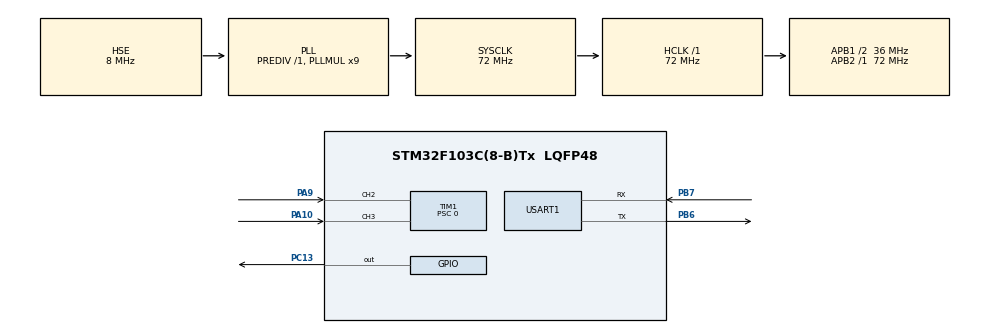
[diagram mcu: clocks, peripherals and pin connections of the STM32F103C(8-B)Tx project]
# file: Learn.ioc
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FREERTOS.Tasks01=MainTask,0,128,StartDefaultTask,Default,NULL,Dynamic,NULL,NULL;UartTask,2,128,StartTask02,Default,NULL,Dynamic,NULL,NULL
FREERTOS.Timers01=myTimer01,Callback01,osTimerOnce,Default,NULL,Dynamic,NULL
FREERTOS.configTIMER_TASK_PRIORITY=6
FREERTOS.configTOTAL_HEAP_SIZE=3892
FREERTOS.configUSE_TIMERS=1
Mcu.Family=STM32F1
Mcu.Name=STM32F103C(8-B)Tx
Mcu.Package=LQFP48
NVIC.PriorityGroup=NVIC_PRIORITYGROUP_4
NVIC.TIM1_CC_IRQn=true\:5\:0\:false\:false\:true\:true\:true
NVIC.TIM4_IRQn=true\:0\:0\:false\:false\:true\:false\:false
NVIC.TimeBase=TIM4_IRQn
NVIC.TimeBaseIP=TIM4
NVIC.USART1_IRQn=true\:5\:0\:false\:false\:true\:true\:true
PA10.Signal=S_TIM1_CH3
PA13.Mode=Serial_Wire
PA13.Signal=SYS_JTMS-SWDIO
PA14.Mode=Serial_Wire
PA14.Signal=SYS_JTCK-SWCLK
PA9.Signal=S_TIM1_CH2
PB6.Mode=Asynchronous
PB6.Signal=USART1_TX
PB7.Mode=Asynchronous
PB7.Signal=USART1_RX
PC13-TAMPER-RTC.Signal=GPIO_Output
PD0-OSC_IN.Mode=HSE-External-Oscillator
PD0-OSC_IN.Signal=RCC_OSC_IN
PD1-OSC_OUT.Mode=HSE-External-Oscillator
PD1-OSC_OUT.Signal=RCC_OSC_OUT
ProjectManager.HeapSize=0x200
ProjectManager.StackSize=0x400
ProjectManager.TargetToolchain=MDK-ARM V5
RCC.AHBFreq_Value=72000000
RCC.APB1CLKDivider=RCC_HCLK_DIV2
RCC.APB1Freq_Value=36000000
RCC.APB1TimFreq_Value=72000000
RCC.APB2Freq_Value=72000000
RCC.APB2TimFreq_Value=72000000
RCC.HCLKFreq_Value=72000000
RCC.PLLMUL=RCC_PLL_MUL9
RCC.PLLSourceVirtual=RCC_PLLSOURCE_HSE
RCC.SYSCLKFreq_VALUE=72000000
RCC.SYSCLKSource=RCC_SYSCLKSOURCE_PLLCLK
RCC.USBFreq_Value=72000000
SH.S_TIM1_CH2.0=TIM1_CH2,PWM_Input_2
SH.S_TIM1_CH3.0=TIM1_CH3,Input_Capture3_from_TI3
SH.S_TIM1_CH3.1=TIM1_CH3,Input_Capture4_from_TI3
TIM1.AutoReloadPreload=TIM_AUTORELOAD_PRELOAD_ENABLE
TIM1.Channel-Input_Capture3_from_TI3=TIM_CHANNEL_3
TIM1.Channel-Input_Capture4_from_TI3=TIM_CHANNEL_4
TIM1.ICFilter_1=8
TIM1.ICFilter_2=8
TIM1.ICPolarity_1=TIM_INPUTCHANNELPOLARITY_RISING
TIM1.ICPolarity_CH4=TIM_INPUTCHANNELPOLARITY_FALLING
TIM1.Period=65535
TIM1.Prescaler=0
TIM1.TIM_MasterOutputTrigger=TIM_TRGO_ENABLE
TIM1.TIM_MasterSlaveMode=TIM_MASTERSLAVEMODE_DISABLE
USART1.VirtualMode=VM_ASYNC
VP_FREERTOS_VS_ENABLE.Mode=Enabled
VP_SYS_VS_tim4.Mode=TIM4
VP_TIM1_VS_ClockSourceINT.Mode=Internal
board=custom

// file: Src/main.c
/**
  ******************************************************************************
  * @file           : main.c
  * @brief          : Main program body
  ******************************************************************************
  * This notice applies to any and all portions of this file
  * that are not between comment pairs USER CODE BEGIN and
  * USER CODE END. Other portions of this file, whether
  * inserted by the user or by software development tools
  * are owned by their respective copyright owners.
  *
  * Copyright (c) 2019 STMicroelectronics International N.V.
  * All rights reserved.
  *
  * Redistribution and use in source and binary forms, with or without
  * modification, are permitted, provided that the following conditions are met:
  *
  * 1. Redistribution of source code must retain the above copyright notice,
  *    this list of conditions and the following disclaimer.
  * 2. Redistributions in binary form must reproduce the above copyright notice,
  *    this list of conditions and the following disclaimer in the documentation
  *    and/or other materials provided with the distribution.
  * 3. Neither the name of STMicroelectronics nor the names of other
  *    contributors to this software may be used to endorse or promote products
  *    derived from this software without specific written permission.
  * 4. This software, including modifications and/or derivative works of this
  *    software, must execute solely and exclusively on microcontroller or
  *    microprocessor devices manufactured by or for STMicroelectronics.
  * 5. Redistribution and use of this software other than as permitted under
  *    this license is void and will automatically terminate your rights under
  *    this license.
  *
  * THIS SOFTWARE IS PROVIDED BY STMICROELECTRONICS AND CONTRIBUTORS "AS IS"
  * AND ANY EXPRESS, IMPLIED OR STATUTORY WARRANTIES, INCLUDING, BUT NOT
  * LIMITED TO, THE IMPLIED WARRANTIES OF MERCHANTABILITY, FITNESS FOR A
  * PARTICULAR PURPOSE AND NON-INFRINGEMENT OF THIRD PARTY INTELLECTUAL PROPERTY
  * RIGHTS ARE DISCLAIMED TO THE FULLEST EXTENT PERMITTED BY LAW. IN NO EVENT
  * SHALL STMICROELECTRONICS OR CONTRIBUTORS BE LIABLE FOR ANY DIRECT, INDIRECT,
  * INCIDENTAL, SPECIAL, EXEMPLARY, OR CONSEQUENTIAL DAMAGES (INCLUDING, BUT NOT
  * LIMITED TO, PROCUREMENT OF SUBSTITUTE GOODS OR SERVICES; LOSS OF USE, DATA,
  * OR PROFITS; OR BUSINESS INTERRUPTION) HOWEVER CAUSED AND ON ANY THEORY OF
  * LIABILITY, WHETHER IN CONTRACT, STRICT LIABILITY, OR TORT (INCLUDING
  * NEGLIGENCE OR OTHERWISE) ARISING IN ANY WAY OUT OF THE USE OF THIS SOFTWARE,
  * EVEN IF ADVISED OF THE POSSIBILITY OF SUCH DAMAGE.
  *
  ******************************************************************************
  */
#include "main.h"
#include "stm32f1xx_hal.h"
#include "cmsis_os.h"

/* USER CODE BEGIN Includes */
#include "RF.h"
#include "string.h"
#include "stdlib.h"
#include "stdio.h"

/* USER CODE END Includes */

TIM_HandleTypeDef htim1;

UART_HandleTypeDef huart1;

osThreadId MainTaskHandle;
osThreadId UartTaskHandle;
osTimerId myTimer01Handle;

/* USER CODE BEGIN PV */
/* Private variables ---------------------------------------------------------*/

/* USER CODE END PV */

void SystemClock_Config(void);
static void MX_GPIO_Init(void);
static void MX_TIM1_Init(void);
static void MX_USART1_UART_Init(void);
void StartDefaultTask(void const * argument);
void StartTask02(void const * argument);
void Callback01(void const * argument);

/* USER CODE BEGIN PFP */
/* Private function prototypes -----------------------------------------------*/
char str[100]; //buffer for transmit UART
uint8_t data_uart[1];  //reg for recive from uart
BUF uart_BUF ;	//struct for reciving uart
BUF RF_pck ;	//struct for reciving uart
int TimeOut_Recive = Timer_RTOS ;
unsigned char start_Recive=0;
int32_t uart_signal;

/* USER CODE END PFP */

int main(void)
{

  /* MCU Configuration----------------------------------------------------------*/

  /* Reset of all peripherals, Initializes the Flash interface and the Systick. */
  HAL_Init();

  /* Configure the system clock */
  SystemClock_Config();

  /* Initialize all configured peripherals */
  MX_GPIO_Init();
  MX_TIM1_Init();
  MX_USART1_UART_Init();
  /* USER CODE BEGIN 2 */
	HAL_UART_Receive_IT(&huart1,data_uart,1);//preload for intrupt of usart1

  /* USER CODE END 2 */

  /* Create the timer(s) */
  /* definition and creation of myTimer01 */
  osTimerDef(myTimer01, Callback01);
  myTimer01Handle = osTimerCreate(osTimer(myTimer01), osTimerOnce, NULL);

  /* Create the thread(s) */
  /* definition and creation of MainTask */
  osThreadDef(MainTask, StartDefaultTask, osPriorityNormal, 0, 128);
  MainTaskHandle = osThreadCreate(osThread(MainTask), NULL);

  /* definition and creation of UartTask */
  osThreadDef(UartTask, StartTask02, osPriorityHigh, 0, 128);
  UartTaskHandle = osThreadCreate(osThread(UartTask), NULL);

  /* Start scheduler */
  osKernelStart();

  /* We should never get here as control is now taken by the scheduler */

  /* Infinite loop */
  while (1)
  {

  }

}

void SystemClock_Config(void)
{

  RCC_OscInitTypeDef RCC_OscInitStruct;
  RCC_ClkInitTypeDef RCC_ClkInitStruct;

    /**Initializes the CPU, AHB and APB busses clocks
    */
  RCC_OscInitStruct.OscillatorType = RCC_OSCILLATORTYPE_HSE;
  RCC_OscInitStruct.HSEState = RCC_HSE_ON;
  RCC_OscInitStruct.HSEPredivValue = RCC_HSE_PREDIV_DIV1;
  RCC_OscInitStruct.HSIState = RCC_HSI_ON;
  RCC_OscInitStruct.PLL.PLLState = RCC_PLL_ON;
  RCC_OscInitStruct.PLL.PLLSource = RCC_PLLSOURCE_HSE;
  RCC_OscInitStruct.PLL.PLLMUL = RCC_PLL_MUL9;
  if (HAL_RCC_OscConfig(&RCC_OscInitStruct) != HAL_OK)
  {
    _Error_Handler(__FILE__, __LINE__);
  }

    /**Initializes the CPU, AHB and APB busses clocks
    */
  RCC_ClkInitStruct.ClockType = RCC_CLOCKTYPE_HCLK|RCC_CLOCKTYPE_SYSCLK
                              |RCC_CLOCKTYPE_PCLK1|RCC_CLOCKTYPE_PCLK2;
  RCC_ClkInitStruct.SYSCLKSource = RCC_SYSCLKSOURCE_PLLCLK;
  RCC_ClkInitStruct.AHBCLKDivider = RCC_SYSCLK_DIV1;
  RCC_ClkInitStruct.APB1CLKDivider = RCC_HCLK_DIV2;
  RCC_ClkInitStruct.APB2CLKDivider = RCC_HCLK_DIV1;

  if (HAL_RCC_ClockConfig(&RCC_ClkInitStruct, FLASH_LATENCY_2) != HAL_OK)
  {
    _Error_Handler(__FILE__, __LINE__);
  }

    /**Configure the Systick interrupt time
    */
  HAL_SYSTICK_Config(HAL_RCC_GetHCLKFreq()/1000);

    /**Configure the Systick
    */
  HAL_SYSTICK_CLKSourceConfig(SYSTICK_CLKSOURCE_HCLK);

  /* SysTick_IRQn interrupt configuration */
  HAL_NVIC_SetPriority(SysTick_IRQn, 15, 0);
}

/* TIM1 init function */
static void MX_TIM1_Init(void)
{

  TIM_ClockConfigTypeDef sClockSourceConfig;
  TIM_MasterConfigTypeDef sMasterConfig;
  TIM_IC_InitTypeDef sConfigIC;
  TIM_SlaveConfigTypeDef sSlaveConfig;

  htim1.Instance = TIM1;
  htim1.Init.Prescaler = 0;
  htim1.Init.CounterMode = TIM_COUNTERMODE_UP;
  htim1.Init.Period = 65535;
  htim1.Init.ClockDivision = TIM_CLOCKDIVISION_DIV1;
  htim1.Init.RepetitionCounter = 0;
  htim1.Init.AutoReloadPreload = TIM_AUTORELOAD_PRELOAD_ENABLE;
  if (HAL_TIM_Base_Init(&htim1) != HAL_OK)
  {
    _Error_Handler(__FILE__, __LINE__);
  }

  sClockSourceConfig.ClockSource = TIM_CLOCKSOURCE_INTERNAL;
  if (HAL_TIM_ConfigClockSource(&htim1, &sClockSourceConfig) != HAL_OK)
  {
    _Error_Handler(__FILE__, __LINE__);
  }

  if (HAL_TIM_IC_Init(&htim1) != HAL_OK)
  {
    _Error_Handler(__FILE__, __LINE__);
  }

  sMasterConfig.MasterOutputTrigger = TIM_TRGO_ENABLE;
  sMasterConfig.MasterSlaveMode = TIM_MASTERSLAVEMODE_DISABLE;
  if (HAL_TIMEx_MasterConfigSynchronization(&htim1, &sMasterConfig) != HAL_OK)
  {
    _Error_Handler(__FILE__, __LINE__);
  }

  sConfigIC.ICPolarity = TIM_INPUTCHANNELPOLARITY_RISING;
  sConfigIC.ICSelection = TIM_ICSELECTION_DIRECTTI;
  sConfigIC.ICPrescaler = TIM_ICPSC_DIV1;
  sConfigIC.ICFilter = 0;
  if (HAL_TIM_IC_ConfigChannel(&htim1, &sConfigIC, TIM_CHANNEL_3) != HAL_OK)
  {
    _Error_Handler(__FILE__, __LINE__);
  }

  sConfigIC.ICPolarity = TIM_INPUTCHANNELPOLARITY_FALLING;
  sConfigIC.ICSelection = TIM_ICSELECTION_INDIRECTTI;
  if (HAL_TIM_IC_ConfigChannel(&htim1, &sConfigIC, TIM_CHANNEL_4) != HAL_OK)
  {
    _Error_Handler(__FILE__, __LINE__);
  }

  sSlaveConfig.SlaveMode = TIM_SLAVEMODE_RESET;
  sSlaveConfig.InputTrigger = TIM_TS_TI2FP2;
  sSlaveConfig.TriggerPolarity = TIM_INPUTCHANNELPOLARITY_FALLING;
  sSlaveConfig.TriggerPrescaler = TIM_ICPSC_DIV1;
  sSlaveConfig.TriggerFilter = 8;
  if (HAL_TIM_SlaveConfigSynchronization(&htim1, &sSlaveConfig) != HAL_OK)
  {
    _Error_Handler(__FILE__, __LINE__);
  }

  sConfigIC.ICPolarity = TIM_INPUTCHANNELPOLARITY_RISING;
  sConfigIC.ICFilter = 8;
  if (HAL_TIM_IC_ConfigChannel(&htim1, &sConfigIC, TIM_CHANNEL_1) != HAL_OK)
  {
    _Error_Handler(__FILE__, __LINE__);
  }

  sConfigIC.ICPolarity = TIM_INPUTCHANNELPOLARITY_FALLING;
  sConfigIC.ICSelection = TIM_ICSELECTION_DIRECTTI;
  if (HAL_TIM_IC_ConfigChannel(&htim1, &sConfigIC, TIM_CHANNEL_2) != HAL_OK)
  {
    _Error_Handler(__FILE__, __LINE__);
  }

}

/* USART1 init function */
static void MX_USART1_UART_Init(void)
{

  huart1.Instance = USART1;
  huart1.Init.BaudRate = 115200;
  huart1.Init.WordLength = UART_WORDLENGTH_8B;
  huart1.Init.StopBits = UART_STOPBITS_1;
  huart1.Init.Parity = UART_PARITY_NONE;
  huart1.Init.Mode = UART_MODE_TX_RX;
  huart1.Init.HwFlowCtl = UART_HWCONTROL_NONE;
  huart1.Init.OverSampling = UART_OVERSAMPLING_16;
  if (HAL_UART_Init(&huart1) != HAL_OK)
  {
    _Error_Handler(__FILE__, __LINE__);
  }

}

/** Configure pins as
        * Analog
        * Input
        * Output
        * EVENT_OUT
        * EXTI
*/
static void MX_GPIO_Init(void)
{

  GPIO_InitTypeDef GPIO_InitStruct;

  /* GPIO Ports Clock Enable */
  __HAL_RCC_GPIOC_CLK_ENABLE();
  __HAL_RCC_GPIOD_CLK_ENABLE();
  __HAL_RCC_GPIOA_CLK_ENABLE();
  __HAL_RCC_GPIOB_CLK_ENABLE();

  /*Configure GPIO pin Output Level */
  HAL_GPIO_WritePin(GPIOC, GPIO_PIN_13, GPIO_PIN_RESET);

  /*Configure GPIO pin : PC13 */
  GPIO_InitStruct.Pin = GPIO_PIN_13;
  GPIO_InitStruct.Mode = GPIO_MODE_OUTPUT_PP;
  GPIO_InitStruct.Pull = GPIO_NOPULL;
  GPIO_InitStruct.Speed = GPIO_SPEED_FREQ_LOW;
  HAL_GPIO_Init(GPIOC, &GPIO_InitStruct);

}

/* USER CODE BEGIN 4 */

//injoori behtare ta in ke bafer koni to ye task --> choon mesl adami mimoone ke ye chi midan dastesh check kone va ina
void HAL_TIM_IC_CaptureCallback(TIM_HandleTypeDef *htim){

		osTimerStart(myTimer01Handle,TimeOut_Recive);

		if(htim->Channel == HAL_TIM_ACTIVE_CHANNEL_1){//cycle
			RF_pck.BUF[RF_pck.len] = HAL_TIM_ReadCapturedValue(&htim1, TIM_CHANNEL_1);
			RF_pck.len++;
		}
		if(htim->Channel == HAL_TIM_ACTIVE_CHANNEL_2){//duty
			RF_pck.BUF[RF_pck.len] = HAL_TIM_ReadCapturedValue(&htim1, TIM_CHANNEL_2);
			RF_pck.len++;
		}
		if(RF_pck.len>BUF_max_size){
			RF_pck.len=32;
	//		sprintf(str, "over flow shod");
	//		HAL_UART_Transmit(&huart1,(unsigned char*)str ,strlen(str),100);
			}

}

void HAL_UART_RxCpltCallback(UART_HandleTypeDef *huart){
	if(huart->Instance==USART1){

		if(*data_uart=='@'){
			start_Recive=1;//set
			for(int k=0;k<BUF_max_size;k++)
				uart_BUF.BUF[k]=0;//clear the content of buffer
				uart_BUF.len=0;
			}
		if((start_Recive==1) && (*data_uart!='.') && (*data_uart!='@') && (uart_BUF.len<BUF_max_size)){
			uart_BUF.BUF[uart_BUF.len]=*data_uart;
			uart_BUF.len++;
		}
		if((start_Recive==1) && *data_uart=='.'){
			start_Recive=0;
			osSignalSet(UartTaskHandle,uart_signal);//set the signal of rtos set.
		}
		if(	uart_BUF.len>BUF_max_size ){

			for(int k=0;k<BUF_max_size;k++)
				uart_BUF.BUF[k]=0;//clear the content of buffer
				uart_BUF.len=0;
				start_Recive=0;
			}

		HAL_UART_Receive_IT(&huart1,data_uart,1);//preload for intrupt of usart1
	}
}

/* USER CODE END 4 */

void StartDefaultTask(void const * argument)
{

  /* USER CODE BEGIN 5 */
  /* Infinite loop */
  for(;;)
  {
	//	HAL_GPIO_TogglePin(GPIOC,GPIO_PIN_13);
		osDelay(1000);
  }
  /* USER CODE END 5 */
}

void StartTask02(void const * argument)
{
  /* USER CODE BEGIN StartTask02 */
  /* Infinite loop */
  for(;;)
  {
		osEvent result=osSignalWait(uart_signal,10000);
	if(result.status == osEventSignal){

		sprintf(str, "\" %s \"\n",uart_BUF.BUF);
		HAL_UART_Transmit(&huart1,(unsigned char*)str ,strlen(str),100);
		switch(uart_BUF.BUF[0]){
			case 'r':

			RF_LEARN();

				break;
			case 't':
				HAL_GPIO_WritePin(GPIOC,GPIO_PIN_13,GPIO_PIN_RESET);

				break;

		}

	}
	else{
	sprintf(str, ".");
		HAL_UART_Transmit(&huart1,(unsigned char*)str ,strlen(str),100);

	}
    osDelay(1);
  }
  /* USER CODE END StartTask02 */
}

/* Callback01 function */
void Callback01(void const * argument)
{
  /* USER CODE BEGIN Callback01 */
  osTimerStop(myTimer01Handle);

	HAL_TIM_IC_Stop_IT(&htim1, TIM_CHANNEL_1);
	HAL_TIM_IC_Stop_IT(&htim1, TIM_CHANNEL_2);
		sprintf(str, "\n\n");
		HAL_UART_Transmit(&huart1,(unsigned char*)str ,strlen(str),100);

	for(int i=0;i<BUF_max_size;i++){
		if(i%2){
		sprintf(str, "-%d-:cycle %d ",i,RF_pck.BUF[i]);
		HAL_UART_Transmit(&huart1,(unsigned char*)str ,strlen(str),100);
		}else{
			sprintf(str, "-%d-duty:%d \n",i,RF_pck.BUF[i]);
		HAL_UART_Transmit(&huart1,(unsigned char*)str ,strlen(str),100);
		}
	}

  /* USER CODE END Callback01 */
}

void HAL_TIM_PeriodElapsedCallback(TIM_HandleTypeDef *htim)
{
  if (htim->Instance == TIM4) {
    HAL_IncTick();
  }
}

void _Error_Handler(char *file, int line)
{
  while(1)
  {
  }
}

/************************ (C) COPYRIGHT STMicroelectronics *****END OF FILE****/
